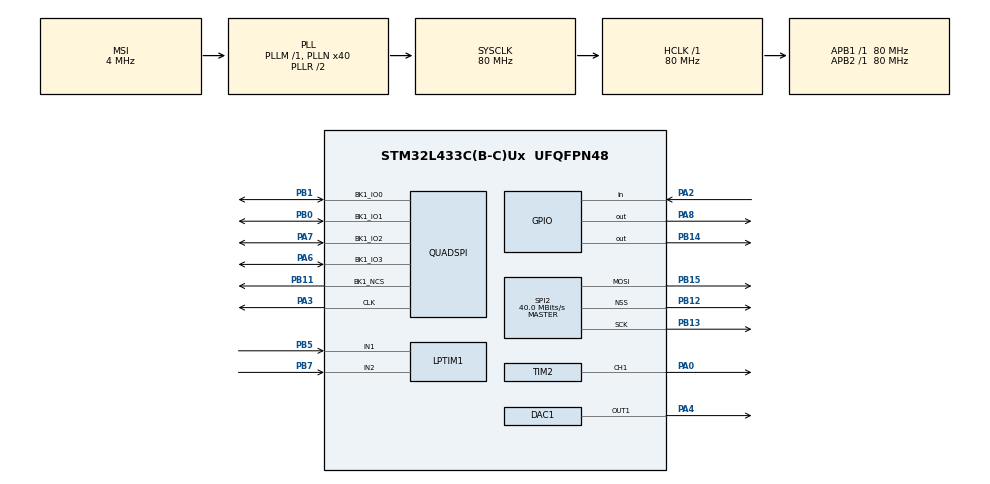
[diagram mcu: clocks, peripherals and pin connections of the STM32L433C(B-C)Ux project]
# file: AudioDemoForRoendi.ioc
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DAC1.DAC_Trigger-DAC_OUT1=DAC_TRIGGER_T6_TRGO
DAC1.WaveGeneration-DAC_OUT1=DISABLE
Dma.DAC_CH1.1.Direction=DMA_MEMORY_TO_PERIPH
Dma.DAC_CH1.1.Instance=DMA1_Channel3
Dma.DAC_CH1.1.MemDataAlignment=DMA_MDATAALIGN_HALFWORD
Dma.DAC_CH1.1.MemInc=DMA_MINC_ENABLE
Dma.DAC_CH1.1.Mode=DMA_NORMAL
Dma.DAC_CH1.1.PeriphDataAlignment=DMA_PDATAALIGN_HALFWORD
Dma.DAC_CH1.1.PeriphInc=DMA_PINC_DISABLE
Dma.DAC_CH1.1.Priority=DMA_PRIORITY_HIGH
Dma.Request0=SPI2_TX
Dma.Request1=DAC_CH1
Dma.SPI2_TX.0.Direction=DMA_MEMORY_TO_PERIPH
Dma.SPI2_TX.0.Instance=DMA1_Channel5
Dma.SPI2_TX.0.MemDataAlignment=DMA_MDATAALIGN_BYTE
Dma.SPI2_TX.0.MemInc=DMA_MINC_ENABLE
Dma.SPI2_TX.0.Mode=DMA_NORMAL
Dma.SPI2_TX.0.PeriphDataAlignment=DMA_PDATAALIGN_BYTE
Dma.SPI2_TX.0.PeriphInc=DMA_PINC_DISABLE
Dma.SPI2_TX.0.Priority=DMA_PRIORITY_HIGH
LPTIM1.ULPClockPolarity=LPTIM_CLOCKPOLARITY_RISING_FALLING
Mcu.Family=STM32L4
Mcu.Name=STM32L433C(B-C)Ux
Mcu.Package=UFQFPN48
NVIC.DMA1_Channel3_IRQn=true\:0\:0\:false\:false\:true\:false\:true\:true
NVIC.DMA1_Channel5_IRQn=true\:0\:0\:false\:false\:true\:false\:true\:true
NVIC.LPTIM1_IRQn=true\:0\:0\:false\:false\:true\:true\:true\:true
NVIC.PriorityGroup=NVIC_PRIORITYGROUP_4
NVIC.TIM1_UP_TIM16_IRQn=true\:0\:0\:false\:false\:true\:true\:true\:true
NVIC.TIM6_DAC_IRQn=true\:0\:0\:false\:false\:true\:true\:true\:true
NVIC.TIM7_IRQn=true\:0\:0\:false\:false\:true\:true\:true\:true
PA0.Signal=S_TIM2_CH1
PA13\ (JTMS-SWDIO).Mode=Trace_Asynchronous_SW
PA13\ (JTMS-SWDIO).Signal=SYS_JTMS-SWDIO
PA14\ (JTCK-SWCLK).Mode=Trace_Asynchronous_SW
PA14\ (JTCK-SWCLK).Signal=SYS_JTCK-SWCLK
PA2.GPIO_PuPd=GPIO_PULLUP
PA2.Signal=GPIO_Input
PA3.Mode=Single Bank 1
PA3.Signal=QUADSPI_CLK
PA4.Signal=COMP_DAC11_group
PA6.Mode=Single Bank 1
PA6.Signal=QUADSPI_BK1_IO3
PA7.Mode=Single Bank 1
PA7.Signal=QUADSPI_BK1_IO2
PA8.Signal=GPIO_Output
PB0.Mode=Single Bank 1
PB0.Signal=QUADSPI_BK1_IO1
PB1.Mode=Single Bank 1
PB1.Signal=QUADSPI_BK1_IO0
PB11.Mode=Single Bank 1
PB11.Signal=QUADSPI_BK1_NCS
PB12.Mode=NSS_Signal_Hard_Output
PB12.Signal=SPI2_NSS
PB13.Mode=TX_Only_Simplex_Unidirect_Master
PB13.Signal=SPI2_SCK
PB14.Signal=GPIO_Output
PB15.Mode=TX_Only_Simplex_Unidirect_Master
PB15.Signal=SPI2_MOSI
PB3\ (JTDO-TRACESWO).Mode=Trace_Asynchronous_SW
PB3\ (JTDO-TRACESWO).Signal=SYS_JTDO-SWO
PB5.Mode=Encoder_mode_occur1
PB5.Signal=LPTIM1_IN1
PB7.Mode=Encoder_mode_occur1
PB7.Signal=LPTIM1_IN2
ProjectManager.HeapSize=0x200
ProjectManager.StackSize=0x400
ProjectManager.TargetToolchain=STM32CubeIDE
QUADSPI.ClockPrescaler=1
QUADSPI.FlashSize=24
RCC.AHBFreq_Value=80000000
RCC.APB1Freq_Value=80000000
RCC.APB1TimFreq_Value=80000000
RCC.APB2Freq_Value=80000000
RCC.APB2TimFreq_Value=80000000
RCC.CortexFreq_Value=80000000
RCC.HCLKFreq_Value=80000000
RCC.HSE_VALUE=8000000
RCC.HSI48_VALUE=48000000
RCC.HSI_VALUE=16000000
RCC.LSE_VALUE=32768
RCC.MSI_VALUE=4000000
RCC.PLLN=40
RCC.SYSCLKFreq_VALUE=80000000
RCC.SYSCLKSource=RCC_SYSCLKSOURCE_PLLCLK
RCC.VCOOutputFreq_Value=160000000
SH.COMP_DAC11_group.0=DAC1_OUT1,DAC_OUT1
SH.S_TIM2_CH1.0=TIM2_CH1,PWM Generation1 CH1
SPI2.CalculateBaudRate=40.0 MBits/s
SPI2.DataSize=SPI_DATASIZE_8BIT
SPI2.Direction=SPI_DIRECTION_2LINES
SPI2.Mode=SPI_MODE_MASTER
SPI2.VirtualNSS=VM_NSSHARD
SPI2.VirtualType=VM_MASTER
STMicroelectronics.X-CUBE-TOUCHGFX.4.18.0.ApplicationCcGraphicsJjApplication=TouchGFXOoGenerator
STMicroelectronics.X-CUBE-TOUCHGFX.4.18.0.tgfx_block_size=2880
STMicroelectronics.X-CUBE-TOUCHGFX.4.18.0.tgfx_buffering_strategy=Partial
STMicroelectronics.X-CUBE-TOUCHGFX.4.18.0.tgfx_custom_height=240
STMicroelectronics.X-CUBE-TOUCHGFX.4.18.0.tgfx_custom_width=240
STMicroelectronics.X-CUBE-TOUCHGFX.4.18.0_IsPackSelfContextualization=true
TIM16.AutoReloadPreload=TIM_AUTORELOAD_PRELOAD_ENABLE
TIM16.Period=39800
TIM16.Prescaler=99
TIM2.AutoReloadPreload=TIM_AUTORELOAD_PRELOAD_ENABLE
TIM2.Channel-PWM\ Generation1\ CH1=TIM_CHANNEL_1
TIM2.OCFastMode_PWM-PWM\ Generation1\ CH1=TIM_OCFAST_ENABLE
TIM2.Period=65535
TIM6.AutoReloadPreload=TIM_AUTORELOAD_PRELOAD_DISABLE
TIM6.Period=3628
TIM6.Prescaler=0
TIM6.TIM_MasterOutputTrigger=TIM_TRGO_UPDATE
TIM7.AutoReloadPreload=TIM_AUTORELOAD_PRELOAD_ENABLE
TIM7.Period=39999
TIM7.Prescaler=1
VP_CRC_VS_CRC.Mode=CRC_Activate
VP_STMicroelectronics.X-CUBE-TOUCHGFX_VS_GraphicsJjApplication_4.18.0.Mode=GraphicsJjApplication
VP_TIM16_VS_ClockSourceINT.Mode=Enable_Timer
VP_TIM2_VS_ClockSourceINT.Mode=Internal
VP_TIM6_VS_ClockSourceINT.Mode=Enable_Timer
VP_TIM7_VS_ClockSourceINT.Mode=Enable_Timer
board=custom

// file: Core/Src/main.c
/* USER CODE BEGIN Header */
/**
  ******************************************************************************
  * @file           : main.c
  * @brief          : Main program body
  ******************************************************************************
  * @attention
  *
  * Copyright (c) 2022 STMicroelectronics.
  * All rights reserved.
  *
  * This software is licensed under terms that can be found in the LICENSE file
  * in the root directory of this software component.
  * If no LICENSE file comes with this software, it is provided AS-IS.
  *
  ******************************************************************************
  */
/* USER CODE END Header */
#include "main.h"
#include "crc.h"
#include "dac.h"
#include "dma.h"
#include "lptim.h"
#include "quadspi.h"
#include "spi.h"
#include "tim.h"
#include "gpio.h"
#include "app_touchgfx.h"

/* USER CODE BEGIN Includes */
#include "WavePlayer.h"
#include "GC9A01.h"
#include "math.h"
#include "defs.h"
/* USER CODE END Includes */

/* USER CODE BEGIN PD */

#define NONE    (0u)
#define LEFT    (1u)
#define RIGHT   (2u)

#define ENCODER_GOING_UP    (0u)
#define ENCODER_GOING_DOWN  (1u)

#define INPUT_TIMEOUT          (1300u)   // around 2 sec
#define DEMO_RUNNING_TIMEOUT   (48000u)  // around 60 sec
#define MAX_DISPLAY_BRIGHTNESS (65520u)
#define MAX_ENCODER_CNT        (65535u)
#define BUFFERSIZE             2048
#define MIN(a,b)               (((a)<(b))? (a):(b))
/* USER CODE END PD */

void SystemClock_Config(void);
/* USER CODE BEGIN PFP */
void touchgfxSignalVSync(void);
/* USER CODE END PFP */

/* USER CODE BEGIN 0 */
// global variables for back light operation
volatile uint32_t targetBacklight           = 0;  // 65520 is max brightness
volatile uint8_t  blacklightTransitionReady = 1;  // if this value is not 1 means the back light is in transition from one value to another
volatile uint8_t  movement                  = NONE;
volatile uint8_t  buttonPushed              = NONE;

volatile uint8_t  progress                  = 0;

volatile uint8_t  userInput                 = 0;
volatile uint32_t userInputDelay            = 0;
volatile int16_t *pp;
volatile uint8_t *p = (uint8_t *)FILE_STATRT_ADDRESS;

#define USERTIMEOIT                         350

volatile int count;
uint32_t samples;

uint8_t flg_dma_done;

void HAL_DAC_ConvCpltCallbackCh1(DAC_HandleTypeDef *hdac)
{
    // flag updated every time the DAC is ready
    flg_dma_done = 1;
}

void HAL_TIM_PeriodElapsedCallback(TIM_HandleTypeDef *htim)
{
    if (htim->Instance == TIM16)
    {
        touchgfxSignalVSync();
    }

    if (htim->Instance == TIM7)
    {
        if(TIM2->CCR1 > targetBacklight)
        {
            TIM2->CCR1 = TIM2->CCR1 - 70;
        }

        if(TIM2->CCR1 < targetBacklight)
        {
            TIM2->CCR1 = TIM2->CCR1 + 70;
        }

        if(TIM2->CCR1 == targetBacklight)
        {
            blacklightTransitionReady = 1;
        }else{
            blacklightTransitionReady = 0;
        }

        if(userInput == 1)
        {
            userInputDelay++;
            // we do this timeout so when we start rewinding the player is not immediately effected.
            if(userInputDelay > USERTIMEOIT)
            {
                userInputDelay = 0;
                userInput = 0;

                count = samples - (float)samples * ((float)progress / 100.0f);
                pp = (volatile int16_t *)p + (uint32_t)((float)samples * ((float)progress / 100.0f));
            }
        }
    }
}
/* USER CODE END 0 */

int main(void)
{
  /* USER CODE BEGIN 1 */
    uint8_t  clickInput         = 0;
    uint8_t  bufferSelect       = 0;
    uint8_t  bufferSwitch       = 2;
    uint32_t countDif           = 0;
    uint32_t currentEncoderVal  = 0;
    uint32_t prevEncoderVal     = 0;
    uint32_t steps              = 0;
    uint16_t dmaBuf[2][BUFFERSIZE];
  /* USER CODE END 1 */

  /* MCU Configuration--------------------------------------------------------*/

  /* Reset of all peripherals, Initializes the Flash interface and the Systick. */
  HAL_Init();

  /* Configure the system clock */
  SystemClock_Config();

  /* Initialize all configured peripherals */
  MX_GPIO_Init();
  MX_CRC_Init();
  MX_TIM2_Init();
  MX_TIM6_Init();
  MX_TIM7_Init();
  MX_DMA_Init();
  MX_SPI2_Init();
  MX_QUADSPI_Init();
  MX_LPTIM1_Init();
  MX_DAC1_Init();
  MX_TIM16_Init();
  MX_TouchGFX_Init();
  /* USER CODE BEGIN 2 */

    // init the QSPI and put it into memory mapped mode
    CSP_QUADSPI_Init();
    CSP_QSPI_EnableMemoryMappedMode();

    // for the backlight
    TIM2->CCR1 = 0;
    HAL_TIM_PWM_Start(&htim2, TIM_CHANNEL_1);
    HAL_TIM_Base_Start_IT(&htim7);
    TIM2->CCR1 = 0;  // the display is off, later CCR1 reg is updated via timer interrupt to accomplish smooth dimming

    // init the display driver
    GC9A01_init();

    // this is for the GFX screen refresh
    HAL_TIM_Base_Start_IT(&htim16);

    // for the rotary encoder IP
    HAL_LPTIM_Encoder_Start_IT(&hlptim1, 0xffff);

    // This is not the correct place for this function to be called but
    // some sketchy things to make to refresh the screen while the backlight is off
    MX_TouchGFX_Process();

    // wait for the user to press the encoder
    clickInput = HAL_GPIO_ReadPin(GPIOA, GPIO_PIN_2);
    while(clickInput == 0)
    {
        clickInput = HAL_GPIO_ReadPin(GPIOA, GPIO_PIN_2);
    }

    // turn the backlight on gradually
    targetBacklight = MAX_DISPLAY_BRIGHTNESS;

    // this timer is used for trigger event for the DAC
    HAL_TIM_Base_Start(&htim6);

    // set the pointer at the start of the file in the QSPI flash
    p = (uint8_t *)FILE_STATRT_ADDRESS;

    // By adding numbers to the pointer we are in effect moving the pointer along the file contents
    // in the header you can find useful information, if plan to make universal WAV player

    p += 4; //  "WAVE"     - File Type Header. For our purposes, it always equals “WAVE”
    p += 4; //  4-bytes    - Size of the overall file in bytes
    p += 4; //  "RIFF"     - Marks the file as a riff file. Characters are each 1 byte long.
    p += 4; //  "fmt "     - Format chunk marker. Includes trailing null
    p += 4; //  4-bytes    - Number of bytes in fmt chunk
    p += 2; //  2-bytes    - Type of format (1 is PCM)
    p += 2; //  2-bytes    - Number of channels (assuming 1)
    p += 4; //  4-bytes    - Sample Rate, common values are 44100 (CD), 48000 (DAT). Sample Rate = Number of Samples per second, or Hertz.
    p += 4; //  4-bytes    - Average number of bytes per second (Sample Rate * BitsPerSample * Channels) / 8
    p += 2; //  2-bytes    - Block size
    p += 2; //  2-bytes    - Bits per sample
    p += 4; //  "data"     - “data” chunk header. Marks the beginning of the data section.

    // We are pointing at the next 4 bytes that contain the size of the data section
    samples  = *p + (*(p+1)<<8) + (*(p+2)<<16) + (*(p+3)<<24);
    samples /= 2;  // only one channel

    p += 4; // we are pointing at the sound data
    pp = (int16_t *)p;

    flg_dma_done = 1;
    count = samples;

  /* USER CODE END 2 */

  /* Infinite loop */
  /* USER CODE BEGIN WHILE */

  // blksize is the size of the data that we read/play at any one time
  const int blkSize = MIN(samples, BUFFERSIZE);

  while (1)
  {
    // count is keeping the count of samples left to be played
    if(0 < count)
    {
        // Double buffering is utilized.
        // One buffer is used for playing sounds and the other is used to read data into.
        // When we are done playing the first buffer we switch them around to have 'fresh' data that we can play,
        // while the old data is being updated

        if(bufferSwitch > 0)
        {
            // Match waveform to DAC output (amplitude and offset) - this is very interesting.
            // The DAC output can go from 0V to Vmax. This means we cannot have negative voltage.
            // But we have negative values in the samples. Take this sine wave as an example.

            // Vmax
            //
            //
            //
            //
            //
            //              ^~~^:                  ^~~^.
            //             7~. .!~               .7^  .7^
            //            7^     !!             .?.     7^
            //           !~       7^            ?:       ?:
            //          :?        .J           ~!        :?
            //          ?:         ~!          J.         7^         .:
            // 0v   ~~~7           J.~~~~~~~~~!!          .?~~~~~~~~~?^

            // To mitigate this clipping, we need to move the hole sine wave up. In effect adding 2047 to the each sample and moving the "zero level" in the middle of the range

            // Vmax         :~~~:                  ^~~^:
            //             !!. .~!                7~. .!~
            //            !~     ^7              7^     !!
            //           ~7       !!            !~       7^
            //          .J         ?:          :?        .J
            //          ^^         ^?          ?:         ~!
            //                      ?:        ^7           J.
            //                      .?        ?.           ^7
            //                       ^7      7^             !!
            //                        ~!.  .7^               !!.
            // 0v                      :~~~~.                 ^!^

            for(int i=0; i< blkSize; i++)
            {
                int16_t v0 = *pp;
                pp++;
                int32_t v = v0;
                v >>= 4;
                v += 2047;                              // half of the max 12bit value. Zero level is in the middle i.e. Vmax / 2.
                dmaBuf[bufferSelect][i] = v & 0x0fff;   // mask only the 12bits we can play.
            }
            bufferSwitch--;
        }

        // we switch the buffer when we are done playing
        if(1 == flg_dma_done)
        {
            flg_dma_done = 0;
            HAL_DAC_Start_DMA(&hdac1, DAC_CHANNEL_1, (uint32_t*)dmaBuf[bufferSelect], blkSize, DAC_ALIGN_12B_R);

            bufferSelect = !bufferSelect;
            count -= blkSize;
            bufferSwitch++;
        }

        // this is used for rewinding
        if(0 == userInput)
        {
            progress = 100 - (100.0 * (float)count / (float)samples);
        }
    }

    // The code that follows is for the encoder and display

    // get the latest value of the encoder
    currentEncoderVal = HAL_LPTIM_ReadCounter(&hlptim1);

    // check if the user has turned the encoder
    if(prevEncoderVal != currentEncoderVal)
    {
       // get the difference between current counter value and the new counter value
       if(currentEncoderVal > prevEncoderVal)
       {
           countDif = currentEncoderVal - prevEncoderVal;
           movement = LEFT;
       }else{
           countDif = prevEncoderVal - currentEncoderVal;
           movement = RIGHT;
       }

       // here we can see if we have overflow of the counter or not
       if(countDif > (MAX_ENCODER_CNT/2))
       {
           // correct for the over/under flow
           countDif = MAX_ENCODER_CNT - countDif; // just subtract from max value

           if(LEFT == movement)
           {
               movement = RIGHT;
           }else{
               movement = LEFT;
           }
       }

       steps = countDif / 2;

       if(0 != steps)
       {
           prevEncoderVal = currentEncoderVal;
       }else{
           movement = NONE;
       }
    }else{
        movement = NONE;
    }

    switch(movement)
    {
        case LEFT:
            userInput = 1;
            userInputDelay = 0;
            buttonPushed = LEFT;
            if(progress > 5)
            {
                progress-=5;
            }
            break;

        case RIGHT:
            userInput = 1;
            userInputDelay = 0;
            buttonPushed = RIGHT;
            if(progress < 100)
            {
                progress+=5;

                if(progress > 100)
                {
                    progress = 100;
                }
            }
            break;

        case NONE:
            //buttonPushed = NONE;
            break;

        default:
               break;
    }
    /* USER CODE END WHILE */

  MX_TouchGFX_Process();
  }
}

void SystemClock_Config(void)
{
  RCC_OscInitTypeDef RCC_OscInitStruct = {0};
  RCC_ClkInitTypeDef RCC_ClkInitStruct = {0};

  /** Configure the main internal regulator output voltage
  */
  if (HAL_PWREx_ControlVoltageScaling(PWR_REGULATOR_VOLTAGE_SCALE1) != HAL_OK)
  {
    Error_Handler();
  }

  /** Initializes the RCC Oscillators according to the specified parameters
  * in the RCC_OscInitTypeDef structure.
  */
  RCC_OscInitStruct.OscillatorType = RCC_OSCILLATORTYPE_MSI;
  RCC_OscInitStruct.MSIState = RCC_MSI_ON;
  RCC_OscInitStruct.MSICalibrationValue = 0;
  RCC_OscInitStruct.MSIClockRange = RCC_MSIRANGE_6;
  RCC_OscInitStruct.PLL.PLLState = RCC_PLL_ON;
  RCC_OscInitStruct.PLL.PLLSource = RCC_PLLSOURCE_MSI;
  RCC_OscInitStruct.PLL.PLLM = 1;
  RCC_OscInitStruct.PLL.PLLN = 40;
  RCC_OscInitStruct.PLL.PLLP = RCC_PLLP_DIV7;
  RCC_OscInitStruct.PLL.PLLQ = RCC_PLLQ_DIV2;
  RCC_OscInitStruct.PLL.PLLR = RCC_PLLR_DIV2;
  if (HAL_RCC_OscConfig(&RCC_OscInitStruct) != HAL_OK)
  {
    Error_Handler();
  }

  /** Initializes the CPU, AHB and APB buses clocks
  */
  RCC_ClkInitStruct.ClockType = RCC_CLOCKTYPE_HCLK|RCC_CLOCKTYPE_SYSCLK
                              |RCC_CLOCKTYPE_PCLK1|RCC_CLOCKTYPE_PCLK2;
  RCC_ClkInitStruct.SYSCLKSource = RCC_SYSCLKSOURCE_PLLCLK;
  RCC_ClkInitStruct.AHBCLKDivider = RCC_SYSCLK_DIV1;
  RCC_ClkInitStruct.APB1CLKDivider = RCC_HCLK_DIV1;
  RCC_ClkInitStruct.APB2CLKDivider = RCC_HCLK_DIV1;

  if (HAL_RCC_ClockConfig(&RCC_ClkInitStruct, FLASH_LATENCY_4) != HAL_OK)
  {
    Error_Handler();
  }
}

void Error_Handler(void)
{
  __disable_irq();
  while (1)
  {
  }
}
